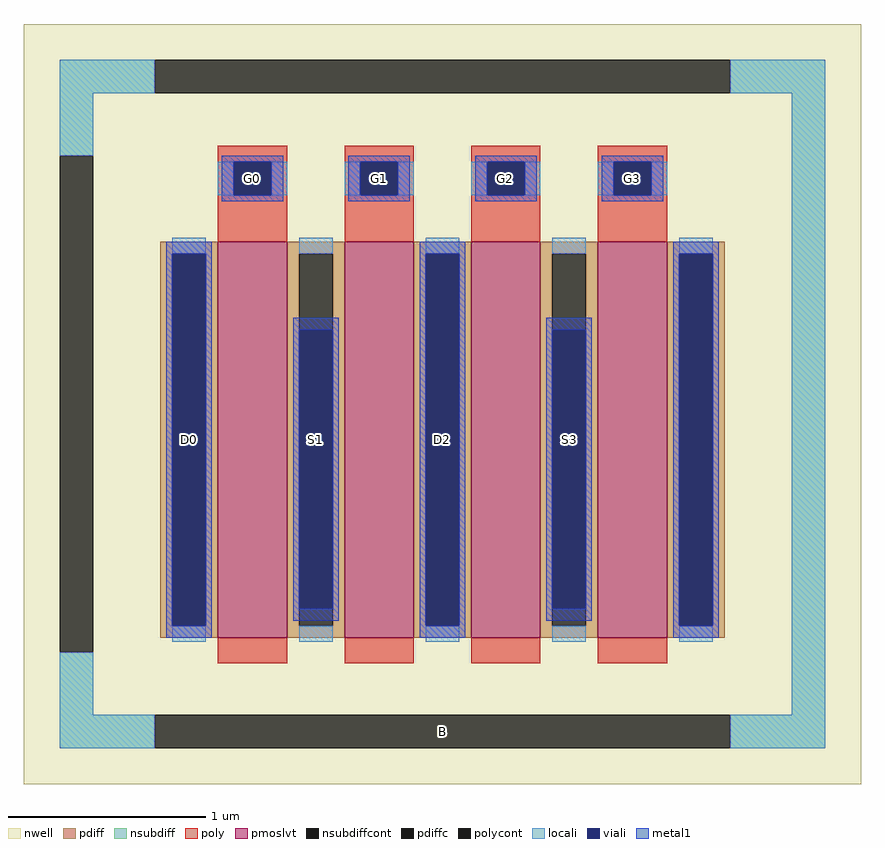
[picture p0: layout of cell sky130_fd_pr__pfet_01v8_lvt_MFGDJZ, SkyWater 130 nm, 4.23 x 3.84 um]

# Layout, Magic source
magic
tech sky130A
magscale 1 2
<< nwell >>
rect -423 -384 423 384
<< pmoslvt >>
rect -227 -236 -157 164
rect -99 -236 -29 164
rect 29 -236 99 164
rect 157 -236 227 164
<< pdiff >>
rect -285 152 -227 164
rect -285 -224 -273 152
rect -239 -224 -227 152
rect -285 -236 -227 -224
rect -157 152 -99 164
rect -157 -224 -145 152
rect -111 -224 -99 152
rect -157 -236 -99 -224
rect -29 152 29 164
rect -29 -224 -17 152
rect 17 -224 29 152
rect -29 -236 29 -224
rect 99 152 157 164
rect 99 -224 111 152
rect 145 -224 157 152
rect 99 -236 157 -224
rect 227 152 285 164
rect 227 -224 239 152
rect 273 -224 285 152
rect 227 -236 285 -224
<< pdiffc >>
rect -273 -224 -239 152
rect -145 -224 -111 152
rect -17 -224 17 152
rect 111 -224 145 152
rect 239 -224 273 152
<< nsubdiff >>
rect -387 314 -291 348
rect 291 314 387 348
rect -387 251 -353 314
rect -387 -314 -353 -251
rect 353 -314 387 314
rect -387 -348 -291 -314
rect 291 -348 387 -314
<< nsubdiffcont >>
rect -291 314 291 348
rect -387 -251 -353 251
rect -291 -348 291 -314
<< poly >>
rect -227 245 -157 261
rect -227 211 -211 245
rect -173 211 -157 245
rect -227 164 -157 211
rect -99 245 -29 261
rect -99 211 -83 245
rect -45 211 -29 245
rect -99 164 -29 211
rect 29 245 99 261
rect 29 211 45 245
rect 83 211 99 245
rect 29 164 99 211
rect 157 245 227 261
rect 157 211 173 245
rect 211 211 227 245
rect 157 164 227 211
rect -227 -262 -157 -236
rect -99 -262 -29 -236
rect 29 -262 99 -236
rect 157 -262 227 -236
<< polycont >>
rect -211 211 -173 245
rect -83 211 -45 245
rect 45 211 83 245
rect 173 211 211 245
<< locali >>
rect -387 314 -291 348
rect 291 314 387 348
rect -387 251 -353 314
rect -227 211 -211 245
rect -173 211 -157 245
rect -99 211 -83 245
rect -45 211 -29 245
rect 29 211 45 245
rect 83 211 99 245
rect 157 211 173 245
rect 211 211 227 245
rect -273 152 -239 168
rect -273 -240 -239 -224
rect -145 152 -111 168
rect -145 -240 -111 -224
rect -17 152 17 168
rect -17 -240 17 -224
rect 111 152 145 168
rect 111 -240 145 -224
rect 239 152 273 168
rect 239 -240 273 -224
rect -387 -314 -353 -251
rect 353 -314 387 314
rect -387 -348 -291 -314
rect 291 -348 387 -314
<< viali >>
rect -211 211 -173 245
rect -83 211 -45 245
rect 45 211 83 245
rect 173 211 211 245
rect -273 -224 -239 152
rect -145 -207 -111 75
rect -17 -224 17 152
rect 111 -207 145 75
rect 239 -224 273 152
<< metal1 >>
rect -223 245 -161 251
rect -223 211 -211 245
rect -173 211 -161 245
rect -223 205 -161 211
rect -95 245 -33 251
rect -95 211 -83 245
rect -45 211 -33 245
rect -95 205 -33 211
rect 33 245 95 251
rect 33 211 45 245
rect 83 211 95 245
rect 33 205 95 211
rect 161 245 223 251
rect 161 211 173 245
rect 211 211 223 245
rect 161 205 223 211
rect -279 152 -233 164
rect -279 -224 -273 152
rect -239 -224 -233 152
rect -23 152 23 164
rect -151 75 -105 87
rect -151 -207 -145 75
rect -111 -207 -105 75
rect -151 -219 -105 -207
rect -279 -236 -233 -224
rect -23 -224 -17 152
rect 17 -224 23 152
rect 233 152 279 164
rect 105 75 151 87
rect 105 -207 111 75
rect 145 -207 151 75
rect 105 -219 151 -207
rect -23 -236 23 -224
rect 233 -224 239 152
rect 273 -224 279 152
rect 233 -236 279 -224
<< labels >>
rlabel nsubdiffcont 0 -331 0 -331 0 B
port 1 nsew
rlabel pdiffc -256 -36 -256 -36 0 D0
port 2 nsew
rlabel polycont -192 228 -192 228 0 G0
port 3 nsew
rlabel pdiffc -128 -36 -128 -36 0 S1
port 4 nsew
rlabel polycont -64 228 -64 228 0 G1
port 5 nsew
rlabel pdiffc 0 -36 0 -36 0 D2
port 6 nsew
rlabel polycont 64 228 64 228 0 G2
port 7 nsew
rlabel pdiffc 128 -36 128 -36 0 S3
port 8 nsew
rlabel polycont 192 228 192 228 0 G3
port 9 nsew
<< properties >>
string FIXED_BBOX -370 -331 370 331
string gencell sky130_fd_pr__pfet_01v8_lvt
string library sky130
string parameters w 2.0 l 0.35 m 1 nf 4 diffcov 100 polycov 100 guard 1 glc 1 grc 0 gtc 1 gbc 1 tbcov 100 rlcov 100 topc 1 botc 0 poverlap 0 doverlap 1 lmin 0.35 wmin 0.42 class mosfet compatible {sky130_fd_pr__pfet_01v8  sky130_fd_pr__pfet_01v8_lvt sky130_fd_pr__pfet_01v8_hvt  sky130_fd_pr__pfet_g5v0d10v5} full_metal 1 conn_gates 0 viasrc +75 viadrn 100 viagate 100 viagb 0 viagr 0 viagl 0 viagt 0 doports 1
<< end >>
